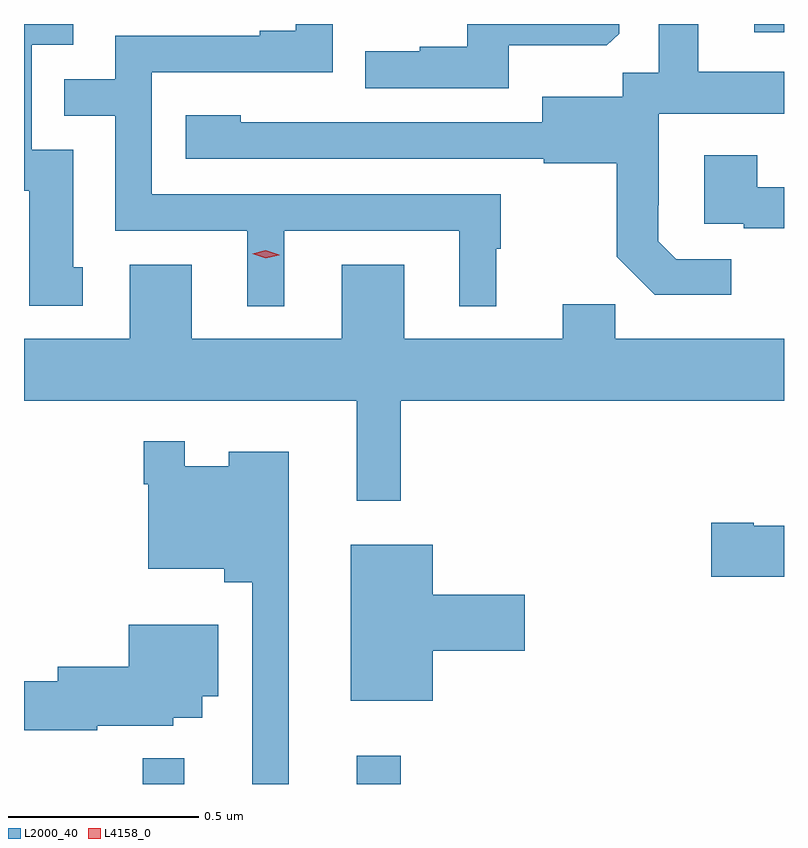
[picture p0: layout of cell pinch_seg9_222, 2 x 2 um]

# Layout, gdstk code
import gdstk
lib = gdstk.Library(unit=1e-6, precision=1e-09)
def R(c, l, rs):  # rectangles x0, y0, x1, y1
    for r in rs: c.add(gdstk.rectangle(r[:2], r[2:], *l))
def P(c, l, *ps):  # polygons
    for p in ps: c.add(gdstk.Polygon(p, *l))
L2000_40 = (2000, 40)
L4158_0 = (4158, 0)

pinch_seg9_222 = lib.new_cell('pinch_seg9_222')
R(pinch_seg9_222, L2000_40, [(585.196,1232.708,585.305,1232.776), (585.758,1232.708,585.875,1232.782), (586.805,1234.686,586.883,1234.708)])
P(pinch_seg9_222, L2000_40, [(586.744,1234.089),(586.599,1234.089),(586.552,1234.136),(586.552,1234.231),(586.554,1234.231),(586.554,1234.472),(586.883,1234.472),(586.883,1234.582),(586.657,1234.582),(586.657,1234.708),(586.553,1234.708),(586.553,1234.58),(586.458,1234.58),(586.458,1234.516),(586.247,1234.516),(586.247,1234.449),(585.689,1234.449),(585.689,1234.45),(585.453,1234.45),(585.453,1234.468),(585.309,1234.468),(585.309,1234.353),(586.251,1234.353),(586.251,1234.341),(586.443,1234.341),(586.443,1234.095),(586.543,1233.995),(586.744,1233.995)],
  [(586.159,1234.652),(586.417,1234.652),(586.449,1234.683),(586.449,1234.708),(586.049,1234.708),(586.049,1234.648),(585.925,1234.648),(585.925,1234.636),(585.781,1234.636),(585.781,1234.539),(586.159,1234.539)],
  [(585.037,1234.068),(585.013,1234.068),(585.013,1234.377),(584.904,1234.377),(584.904,1234.653),(585.013,1234.653),(585.013,1234.708),(584.883,1234.708),(584.883,1234.269),(584.897,1234.269),(584.897,1233.966),(585.037,1233.966)],
  [(585.568,1234.164),(586.028,1234.164),(586.028,1233.965),(586.126,1233.965),(586.126,1234.116),(586.138,1234.116),(586.138,1234.26),(585.219,1234.26),(585.219,1234.581),(585.696,1234.581),(585.696,1234.708),(585.598,1234.708),(585.598,1234.69),(585.503,1234.69),(585.503,1234.677),(585.123,1234.677),(585.123,1234.563),(584.989,1234.563),(584.989,1234.467),(585.123,1234.467),(585.123,1234.164),(585.47,1234.164),(585.47,1233.965),(585.568,1233.965)],
  [(586.883,1234.278),(586.813,1234.278),(586.813,1234.363),(586.673,1234.363),(586.673,1234.182),(586.777,1234.182),(586.777,1234.17),(586.883,1234.17)],
  [(585.875,1233.716),(586.883,1233.716),(586.883,1233.88),(586.439,1233.88),(586.439,1233.971),(586.301,1233.971),(586.301,1233.88),(585.883,1233.88),(585.883,1234.075),(585.719,1234.075),(585.719,1233.88),(585.325,1233.88),(585.325,1234.075),(585.161,1234.075),(585.161,1233.88),(584.883,1233.88),(584.883,1233.716),(585.758,1233.716),(585.758,1233.453),(585.875,1233.453)],
  [(585.58,1233.583),(585.422,1233.583),(585.422,1233.544),(585.306,1233.544),(585.306,1233.61),(585.198,1233.61),(585.198,1233.497),(585.21,1233.497),(585.21,1233.275),(585.41,1233.275),(585.41,1233.239),(585.483,1233.239),(585.483,1232.708),(585.58,1232.708)],
  [(586.883,1233.388),(586.804,1233.388),(586.804,1233.396),(586.692,1233.396),(586.692,1233.254),(586.883,1233.254)],
  [(585.958,1233.059),(586.201,1233.059),(586.201,1233.206),(585.958,1233.206),(585.958,1233.337),(585.743,1233.337),(585.743,1232.927),(585.958,1232.927)],
  [(585.076,1232.861),(585.276,1232.861),(585.276,1232.882),(585.352,1232.882),(585.352,1232.939),(585.394,1232.939),(585.394,1233.127),(585.158,1233.127),(585.158,1233.017),(584.972,1233.017),(584.972,1232.978),(584.883,1232.978),(584.883,1232.849),(585.076,1232.849)])
P(pinch_seg9_222, L4158_0, [(585.519,1234.092),(585.483,1234.103),(585.483,1234.103),(585.483,1234.103),(585.519,1234.112),(585.555,1234.101),(585.555,1234.1),(585.555,1234.1)])

lib.write_gds('pinch_seg9_222.gds')
